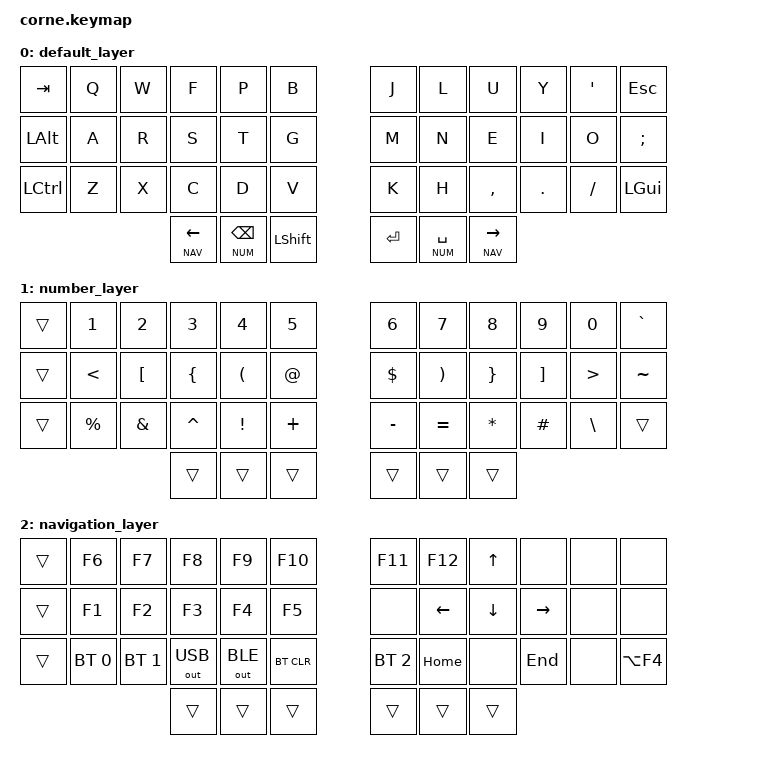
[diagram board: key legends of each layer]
/*
 * Copyright (c) 2020 The ZMK Contributors
 *
 * SPDX-License-Identifier: MIT
 */

#include <behaviors.dtsi>
#include <dt-bindings/zmk/bt.h>
#include <dt-bindings/zmk/keys.h>
#include <dt-bindings/zmk/outputs.h>

# define DEFAULT 0
# define NUM 1
# define NAV 2

// # define BTL 3
//

/ {
    behaviors {
        hm: homerow_mods {
            compatible = "zmk,behavior-hold-tap";
            label = "HOMEROW_MODS";
            #binding-cells = <2>;
            tapping-term-ms = <125>;
            quick-tap-ms = <0>;
            flavor = "tap-preferred";
            bindings = <&kp>, <&kp>;
        };
    };

    keymap {
        compatible = "zmk,keymap";

        default_layer {
            // -----------------------------------------------------------------------------------------
            // | TAB  |  Q   |  W  |  F  |  P  |   B  |        |  J  |  L  |  U  |  Y  |   '   | esc |
            // | ALT  |  A   |  R  |  S  |  T  |   G  |        |  M  |  N  |  E  |  I  |   O   |  ;  |
            // | CTRL |  Z   |  X  |  C  |  D  |   V  |        |  K  |  H  |  ,  |  .  |   /   | gui |
            //        | LEFT |   (NAV) BSPC    | SHFT |        | RET |    (NUM) SPC    | RIGHT |

            bindings = <
&kp TAB    &kp Q  &kp W  &kp F         &kp P         &kp B        &kp J    &kp L          &kp U          &kp Y    &kp SQT   &kp ESC
&kp LALT   &kp A  &kp R  &kp S         &kp T         &kp G        &kp M    &kp N          &kp E          &kp I    &kp O     &kp SEMI
&kp LCTRL  &kp Z  &kp X  &kp C         &kp D         &kp V        &kp K    &kp H          &kp COMMA      &kp DOT  &kp FSLH  &kp LGUI
                         &lt NAV LEFT  &lt NUM BSPC  &kp LSHFT    &kp RET  &lt NUM SPACE  &lt NAV RIGHT
            >;
        };

        number_layer {
            // -----------------------------------------------------------------------------------------
            // | x | 1 | 2 | 3 | 4 | 5 |        | 6 | 7 | 8 | 9 | 0 | ` |
            // | x | < | [ | { | ( | @ |        | $ | ) | } | ] | > | ~ |
            // | x | % | & | ^ | ! | + |        | - | = | * | # | \ | x |
            //             |   |   |   |        |   |   |   |

            bindings = <
&trans  &kp N1     &kp N2    &kp N3     &kp N4    &kp N5      &kp N6      &kp N7     &kp N8    &kp N9     &kp N0    &kp GRAVE
&trans  &kp LT     &kp LBKT  &kp LBRC   &kp LPAR  &kp AT      &kp DOLLAR  &kp RPAR   &kp RBRC  &kp RBKT   &kp GT    &kp TILDE
&trans  &kp PRCNT  &kp AMPS  &kp CARET  &kp EXCL  &kp PLUS    &kp MINUS   &kp EQUAL  &kp STAR  &kp POUND  &kp BSLH  &trans
                             &trans     &trans    &trans      &trans      &trans     &trans
            >;
        };

        navigation_layer {
            // -----------------------------------------------------------------------------------------
            // |   | BT1 | BT2 | BT3 |     |       |        |     |      |  UP |     |     |        |
            // |   | F1  | F2  | F3  | F11 |  F12  |        |     | LFT  | DWN | RGT |     |        |
            // |   |     |     | USB |  BT | BTCLR |        |     | HOME |     | END |     | ALT+F4 |
            //                 |     |     |       |        |     |      |     |

            bindings = <
&trans  &kp F6        &kp F7        &kp F8        &kp F9        &kp F10       &kp F11       &kp F12   &kp UP    &none      &none  &none
&trans  &kp F1        &kp F2        &kp F3        &kp F4        &kp F5        &none         &kp LEFT  &kp DOWN  &kp RIGHT  &none  &none
&trans  &bt BT_SEL 0  &bt BT_SEL 1  &out OUT_USB  &out OUT_BLE  &bt BT_CLR    &bt BT_SEL 2  &kp HOME  &none     &kp END    &none  &kp LA(F4)
                                    &trans        &trans        &trans        &trans        &trans    &trans
            >;
        };
    };
};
